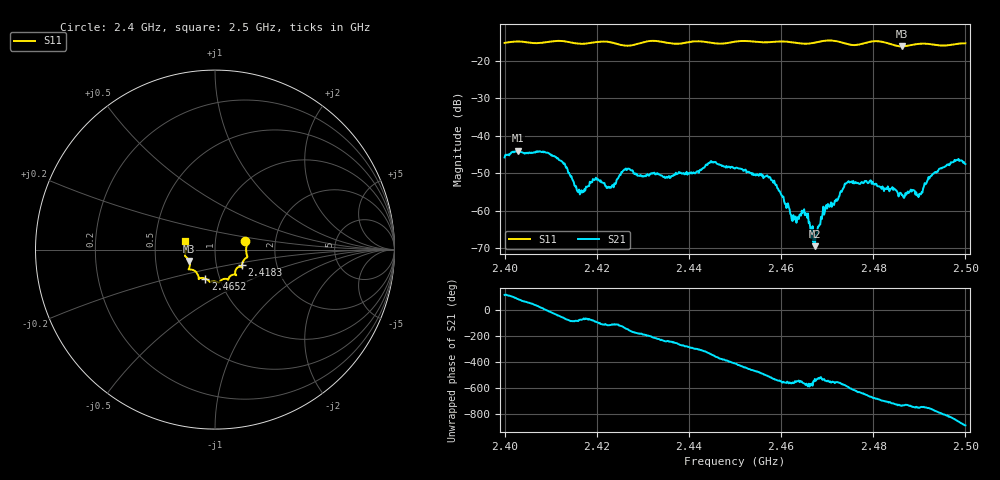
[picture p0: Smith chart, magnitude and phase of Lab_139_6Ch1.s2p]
# Hz S RI R 50
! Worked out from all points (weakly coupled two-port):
!   601 points, 2.4 GHz to 2.5 GHz, reference 50 ohm
!   highest |S21| = -43.99 dB at 2.4028 GHz (marker M1); lowest = -69.5 dB at 2.4673 GHz (marker M2)
!   lowest |S11| = -16.1 dB at 2.4862 GHz (marker M3), VSWR 1.37, Z = 37.2 - j4.87 ohm
!   |S11| at or under -10 dB: start of sweep to end of sweep
!   S12 and S22 are empty: the file has one direction only
!   S11 on the Smith chart (normalised r, x): 2.4 GHz: 1.40, +0.14; 2.4183 GHz: 1.33, -0.24; 2.4652 GHz: 0.85, -0.28; 2.5 GHz: 0.71, +0.07
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2.4e9  0.1679 0.0469  -0.0019 0.00477  0 0  0 0
2.402833e9  0.1792 0.0332  0.001 0.00624  0 0  0 0
2.411167e9  0.1809 -0.0388  0.00416 -0.00311  0 0  0 0
2.416667e9  0.1555 -0.0679  0.000381 -0.00182  0 0  0 0
2.418333e9  0.1501 -0.0863  0.000678 -0.00201  0 0  0 0
2.423167e9  0.1482 -0.0974  -0.000903 -0.00184  0 0  0 0
2.4265e9  0.1221 -0.1035  -0.00295 -0.00184  0 0  0 0
2.433333e9  0.117 -0.1415  -0.00218 0.00215  0 0  0 0
2.445167e9  0.0609 -0.1628  0.00437 0.000951  0 0  0 0
2.45e9  0.0258 -0.1794  0.00225 -0.00287  0 0  0 0
2.457167e9  -0.0101 -0.1778  -0.00246 -0.00144  0 0  0 0
2.4625e9  -0.0339 -0.1743  -0.000694 0.000209  0 0  0 0
2.465167e9  -0.0545 -0.1612  -0.000768 0.000403  0 0  0 0
2.466667e9  -0.0707 -0.1578  -0.000423 0.000197  0 0  0 0
2.467333e9  -0.0774 -0.1581  -0.000329 -5.65e-05  0 0  0 0
2.469667e9  -0.0904 -0.1637  -0.00111 7.64e-05  0 0  0 0
2.474333e9  -0.0967 -0.138  -0.00155 0.00178  0 0  0 0
2.483333e9  -0.1416 -0.0966  0.00192 0.000315  0 0  0 0
2.486167e9  -0.1432 -0.0638  0.00156 -0.000432  0 0  0 0
2.49e9  -0.1656 -0.0368  0.00143 -0.000872  0 0  0 0
2.494667e9  -0.1611 -0.00101  0.00122 -0.00348  0 0  0 0
2.5e9  -0.1656 0.0475  -0.00406 -0.00105  0 0  0 0
